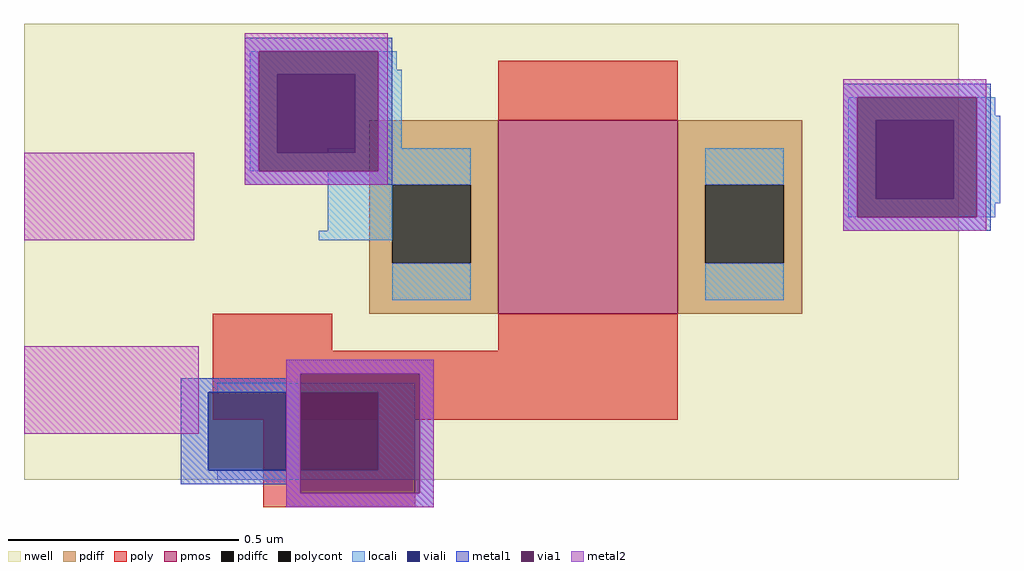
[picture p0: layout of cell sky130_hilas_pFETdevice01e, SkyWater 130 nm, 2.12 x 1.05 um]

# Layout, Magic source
magic
tech sky130A
<< nwell >>
rect 0 6 203 105
<< pmos >>
rect 103 42 142 84
<< pdiff >>
rect 75 70 103 84
rect 75 53 80 70
rect 97 53 103 70
rect 75 42 103 53
rect 142 70 169 84
rect 142 53 148 70
rect 165 53 169 70
rect 142 42 169 53
<< pdiffc >>
rect 80 53 97 70
rect 148 53 165 70
<< poly >>
rect 103 84 142 97
rect 41 34 67 42
rect 103 34 142 42
rect 41 19 142 34
<< locali >>
rect 66 70 97 78
rect 66 60 80 70
rect 64 58 80 60
rect 80 45 97 53
rect 148 70 165 78
rect 148 45 165 53
<< metal2 >>
rect 0 58 37 77
rect 0 16 38 35
use sky130_hilas_li2m2  sky130_hilas_li2m2_0
transform 1 0 178 0 1 60
box 0 0 34 33
use sky130_hilas_li2m2  sky130_hilas_li2m2_1
transform 1 0 48 0 1 70
box 0 0 34 33
use sky130_hilas_poly2m2  sky130_hilas_poly2m2_0
transform 0 1 34 -1 0 33
box 0 0 33 55
<< properties >>
string LEFsite unithd
string LEFclass CORE
string LEFsymmetry X Y R90
<< end >>

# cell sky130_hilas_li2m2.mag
magic
tech sky130A
<< locali >>
rect 1 25 33 29
rect 1 24 34 25
rect 1 7 7 24
rect 24 7 34 24
rect 1 6 34 7
rect 1 3 33 6
<< viali >>
rect 7 7 24 24
<< metal1 >>
rect 0 29 32 32
rect 0 3 3 29
rect 29 3 32 29
rect 0 0 32 3
<< via1 >>
rect 3 24 29 29
rect 3 7 7 24
rect 7 7 24 24
rect 24 7 29 24
rect 3 3 29 7
<< metal2 >>
rect 0 29 31 33
rect 0 3 3 29
rect 29 3 31 29
rect 0 0 31 3
<< properties >>
string LEFsite unithd
string LEFclass CORE
string LEFsymmetry X Y R90
<< end >>

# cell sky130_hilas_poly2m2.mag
magic
tech sky130A
<< poly >>
rect 0 43 33 51
rect 0 26 8 43
rect 25 26 33 43
rect 0 18 33 26
<< polycont >>
rect 8 26 25 43
<< locali >>
rect 6 43 27 51
rect 6 26 8 43
rect 25 26 27 43
rect 6 23 27 26
rect 6 8 8 23
rect 25 8 27 23
<< viali >>
rect 8 6 25 23
<< metal1 >>
rect 1 52 33 55
rect 1 26 4 52
rect 30 26 33 52
rect 1 23 33 26
rect 5 6 8 23
rect 25 6 28 23
rect 5 0 28 6
<< via1 >>
rect 4 26 30 52
<< metal2 >>
rect 1 52 33 55
rect 1 26 4 52
rect 30 26 33 52
rect 1 23 33 26
<< properties >>
string LEFsite unithd
string LEFclass CORE
string LEFsymmetry X Y R90
<< end >>
